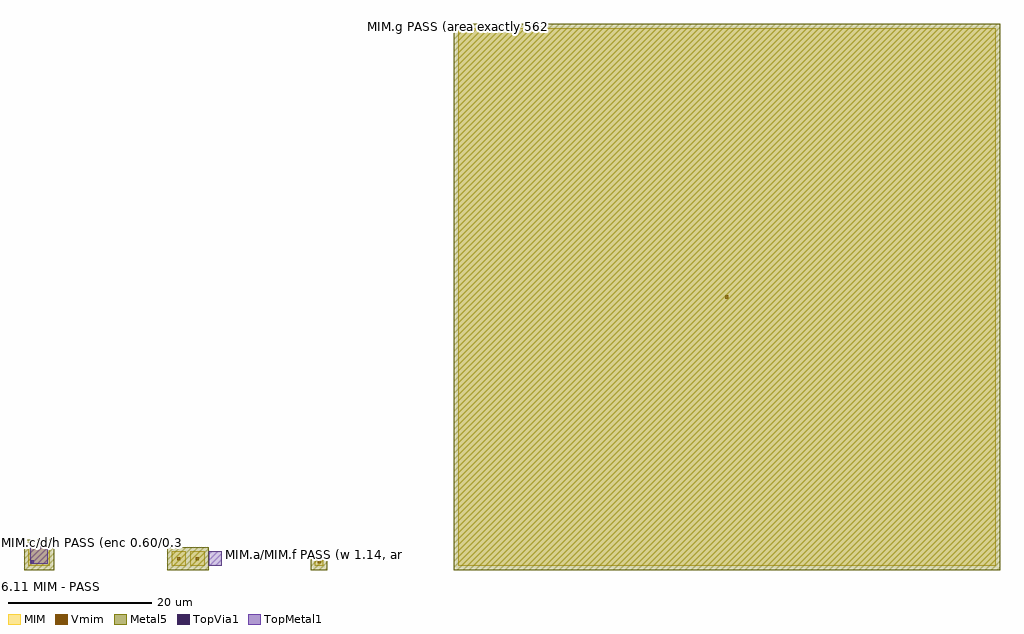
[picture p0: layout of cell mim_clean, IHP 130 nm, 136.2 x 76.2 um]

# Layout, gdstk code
import gdstk
lib = gdstk.Library(unit=1e-6, precision=1e-09)
def R(c, l, rs):  # rectangles x0, y0, x1, y1
    for r in rs: c.add(gdstk.rectangle(r[:2], r[2:], *l))
MIM = (36, 0)
Metal5 = (67, 0)
TopVia1 = (125, 0)
TopMetal1 = (126, 0)
Vmim = (129, 0)

mim_clean = lib.new_cell('mim_clean')
R(mim_clean, MIM, [(0,0,3,3), (20,0,22,2), (22.6,0,24.6,2), (40,0,41.14,1.15), (60,0,135,75)])
R(mim_clean, Metal5, [(-0.6,-0.6,3.6,3.6), (19.4,-0.6,25.2,2.6), (39.4,-0.6,41.74,1.75), (59.4,-0.6,135.6,75.6)])
R(mim_clean, TopVia1, [(0.36,0.36,0.78,0.78)])
R(mim_clean, TopMetal1, [(25.2,0,27,2), (0.3,0.3,2.7,2.7)])
R(mim_clean, Vmim, [(40.36,0.365,40.78,0.785), (20.79,0.79,21.21,1.21), (23.39,0.79,23.81,1.21), (97.29,37.29,97.71,37.71)])
mim_clean.add(gdstk.Label('6.11 MIM - PASS', (0,-3), layer=63, texttype=0))
mim_clean.add(gdstk.Label('MIM.c/d/h PASS (enc 0.60/0.36), TM1 inside', (0,3.3), layer=63, texttype=0))
mim_clean.add(gdstk.Label('MIM.b/MIM.e PASS (space 0.60)', (20,2.3), layer=63, texttype=0))
mim_clean.add(gdstk.Label('MIM.a/MIM.f PASS (w 1.14, area 1.311)', (40,1.5), layer=63, texttype=0))
mim_clean.add(gdstk.Label('MIM.g PASS (area exactly 5625)', (60,75.3), layer=63, texttype=0))

lib.write_gds('mim_clean.gds')
